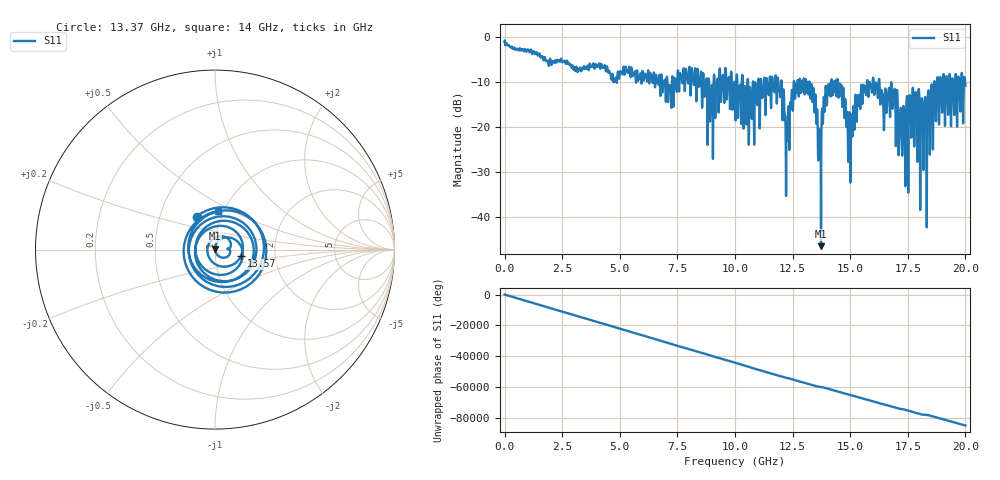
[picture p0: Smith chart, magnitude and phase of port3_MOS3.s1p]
! MS46122B
! 2250307/22442219
! 6/11/2025 1:21:30 PM
! C:\USERS\SPARKY\DOCUMENTS\VNA_DATA\JUNE11_2025\PORT3.S1P
! CHANNEL.1
! TR.MEASUREMENT
! RAW.DATA
# GHZ S RI R 50.0
! FREQ.GHZ  S11RE  S11IM
!; PortSelection: Port_1
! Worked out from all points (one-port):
!   10001 points, 1 MHz to 20 GHz, reference 50 ohm
!   lowest |S11| = -46.5 dB at 13.73 GHz (marker M1), VSWR 1.01, Z = 50 + j0.472 ohm
!   |S11| at or under -10 dB: 13.24 GHz to 14.18 GHz (936.3 MHz wide, 6.83 % of centre); 14.46 GHz to 15.73 GHz (1.265 GHz wide, 8.38 % of centre); 16.27 GHz to 18.64 GHz (2.373 GHz wide, 13.6 % of centre) (the widest 3 of 77)
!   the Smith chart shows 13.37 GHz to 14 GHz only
!   S11 on the Smith chart (normalised r, x): 13.37 GHz: 0.76, +0.29; 13.57 GHz: 1.33, -0.10; 14 GHz: 0.94, +0.42
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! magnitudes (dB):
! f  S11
! 1 MHz  -1.0
! 2.501 GHz  -5.5
! 5.001 GHz  -8.1
! 7.501 GHz  -8.9
! 8.449 GHz  -10.6
! 8.973 GHz  -12.6
! 9.409 GHz  -11.5
! 10 GHz  -11.2
! 10.67 GHz  -12.6
! 11.94 GHz  -11.3
! 12.27 GHz  -22.9
! 12.5 GHz  -15.0
! 13.37 GHz  -13.5
! 13.57 GHz  -16.5
! 13.73 GHz  -46.5
! 14 GHz  -13.3
! 14.53 GHz  -10.3
! 15 GHz  -24.9
! 15.31 GHz  -13.6
! 15.92 GHz  -11.2
! 16.51 GHz  -11.9
! 16.86 GHz  -15.0
! 17.18 GHz  -16.6
! 17.5 GHz  -18.4
! 17.78 GHz  -22.3
! 18.25 GHz  -13.4
! 18.72 GHz  -18.6
! 20 GHz  -10.8
